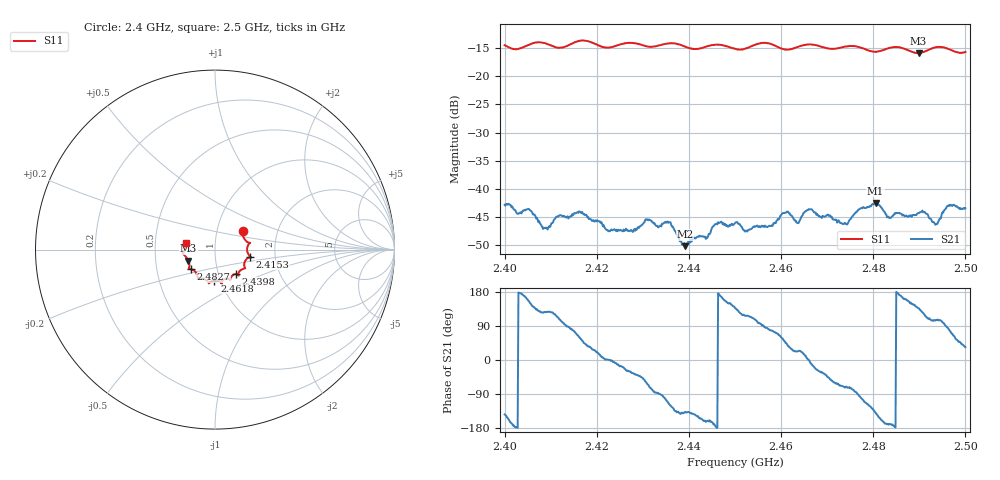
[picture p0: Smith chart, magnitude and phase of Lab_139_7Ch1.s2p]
# Hz S RI R 50
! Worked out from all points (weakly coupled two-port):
!   601 points, 2.4 GHz to 2.5 GHz, reference 50 ohm
!   highest |S21| = -42.49 dB at 2.4805 GHz (marker M1); lowest = -50.1 dB at 2.4392 GHz (marker M2)
!   lowest |S11| = -15.9 dB at 2.4898 GHz (marker M3), VSWR 1.38, Z = 36.8 - j4.63 ohm
!   |S11| at or under -10 dB: start of sweep to end of sweep
!   S12 and S22 are empty: the file has one direction only
!   S11 on the Smith chart (normalised r, x): 2.4 GHz: 1.33, +0.29; 2.4153 GHz: 1.48, -0.12; 2.4398 GHz: 1.21, -0.34; 2.4618 GHz: 0.94, -0.33; 2.4827 GHz: 0.75, -0.17; 2.5 GHz: 0.72, +0.06
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2.4e9  0.1552 0.1063  -0.00584 -0.00427  0 0  0 0
2.408833e9  0.1926 0.0355  -0.00269 0.0036  0 0  0 0
2.415333e9  0.1966 -0.0393  0.00181 0.00581  0 0  0 0
2.416667e9  0.2025 -0.0434  0.0036 0.00493  0 0  0 0
2.4225e9  0.1647 -0.0703  0.00422 3.58e-05  0 0  0 0
2.433333e9  0.1301 -0.1336  0.00023 -0.00455  0 0  0 0
2.435667e9  0.1314 -0.1448  -0.00218 -0.00459  0 0  0 0
2.439167e9  0.1216 -0.1366  -0.00227 -0.00213  0 0  0 0
2.439833e9  0.1158 -0.1362  -0.00249 -0.00233  0 0  0 0
2.45e9  0.0648 -0.1621  -0.00365 0.00337  0 0  0 0
2.4525e9  0.0409 -0.172  -0.00192 0.00379  0 0  0 0
2.461833e9  -0.00333 -0.1726  0.0051 0.00333  0 0  0 0
2.4635e9  -0.0236 -0.1795  0.00464 0.00193  0 0  0 0
2.466667e9  -0.0345 -0.1879  0.00647 -0.00132  0 0  0 0
2.474e9  -0.0886 -0.1604  0.00158 -0.00463  0 0  0 0
2.4805e9  -0.114 -0.1187  -0.00569 -0.0049  0 0  0 0
2.482667e9  -0.135 -0.1088  -0.00586 -0.00127  0 0  0 0
2.483333e9  -0.1401 -0.1084  -0.0056 -0.000921  0 0  0 0
2.489833e9  -0.1482 -0.0612  -0.00445 0.0042  0 0  0 0
2.4935e9  -0.1787 -0.0242  -0.00117 0.00467  0 0  0 0
2.4965e9  -0.1732 -0.012  0.00135 0.00709  0 0  0 0
2.5e9  -0.1595 0.0386  0.00561 0.00377  0 0  0 0
